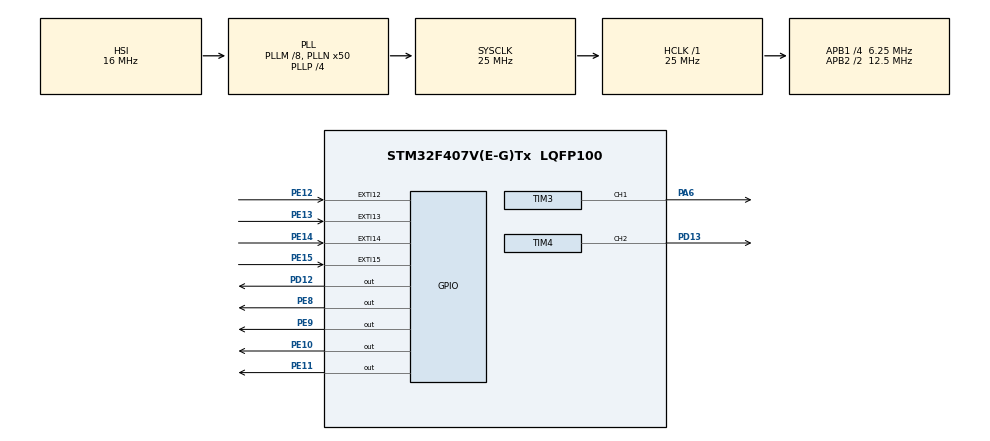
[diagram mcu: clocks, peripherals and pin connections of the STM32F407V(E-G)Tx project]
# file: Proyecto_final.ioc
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Dma.Request0=TIM4_CH2
Dma.TIM4_CH2.0.Direction=DMA_MEMORY_TO_PERIPH
Dma.TIM4_CH2.0.FIFOMode=DMA_FIFOMODE_DISABLE
Dma.TIM4_CH2.0.Instance=DMA1_Stream3
Dma.TIM4_CH2.0.MemDataAlignment=DMA_MDATAALIGN_HALFWORD
Dma.TIM4_CH2.0.MemInc=DMA_MINC_ENABLE
Dma.TIM4_CH2.0.Mode=DMA_NORMAL
Dma.TIM4_CH2.0.PeriphDataAlignment=DMA_PDATAALIGN_HALFWORD
Dma.TIM4_CH2.0.PeriphInc=DMA_PINC_DISABLE
Dma.TIM4_CH2.0.Priority=DMA_PRIORITY_HIGH
Mcu.Family=STM32F4
Mcu.Name=STM32F407V(E-G)Tx
Mcu.Package=LQFP100
NVIC.DMA1_Stream3_IRQn=true\:0\:0\:false\:false\:true\:false\:true\:true
NVIC.EXTI15_10_IRQn=true\:0\:0\:false\:false\:true\:true\:true\:true
NVIC.PriorityGroup=NVIC_PRIORITYGROUP_0
PA13.Mode=Trace_Asynchronous_SW
PA13.Signal=SYS_JTMS-SWDIO
PA14.Mode=Trace_Asynchronous_SW
PA14.Signal=SYS_JTCK-SWCLK
PA6.Signal=S_TIM3_CH1
PB3.Mode=Trace_Asynchronous_SW
PB3.Signal=SYS_JTDO-SWO
PD12.Signal=GPIO_Output
PD13.GPIO_Speed=GPIO_SPEED_FREQ_VERY_HIGH
PD13.Signal=S_TIM4_CH2
PE10.GPIO_ModeDefaultOutputPP=GPIO_MODE_OUTPUT_OD
PE10.GPIO_PuPd=GPIO_NOPULL
PE10.Signal=GPIO_Output
PE11.GPIO_ModeDefaultOutputPP=GPIO_MODE_OUTPUT_OD
PE11.GPIO_PuPd=GPIO_NOPULL
PE11.Signal=GPIO_Output
PE12.GPIO_ModeDefaultEXTI=GPIO_MODE_IT_FALLING
PE12.GPIO_PuPd=GPIO_PULLUP
PE12.Signal=GPXTI12
PE13.GPIO_ModeDefaultEXTI=GPIO_MODE_IT_FALLING
PE13.GPIO_PuPd=GPIO_PULLUP
PE13.Signal=GPXTI13
PE14.GPIO_ModeDefaultEXTI=GPIO_MODE_IT_FALLING
PE14.GPIO_PuPd=GPIO_PULLUP
PE14.Signal=GPXTI14
PE15.GPIO_ModeDefaultEXTI=GPIO_MODE_IT_FALLING
PE15.GPIO_PuPd=GPIO_PULLUP
PE15.Signal=GPXTI15
PE8.GPIO_ModeDefaultOutputPP=GPIO_MODE_OUTPUT_OD
PE8.GPIO_PuPd=GPIO_NOPULL
PE8.Signal=GPIO_Output
PE9.GPIO_ModeDefaultOutputPP=GPIO_MODE_OUTPUT_OD
PE9.GPIO_PuPd=GPIO_NOPULL
PE9.Signal=GPIO_Output
ProjectManager.HeapSize=0x200
ProjectManager.StackSize=0x400
ProjectManager.TargetToolchain=STM32CubeIDE
RCC.48MHZClocksFreq_Value=14285714.285714285
RCC.AHBFreq_Value=25000000
RCC.APB1CLKDivider=RCC_HCLK_DIV4
RCC.APB1Freq_Value=6250000
RCC.APB1TimFreq_Value=12500000
RCC.APB2CLKDivider=RCC_HCLK_DIV2
RCC.APB2Freq_Value=12500000
RCC.APB2TimFreq_Value=25000000
RCC.CortexFreq_Value=25000000
RCC.HCLKFreq_Value=25000000
RCC.HSE_VALUE=8000000
RCC.HSI_VALUE=16000000
RCC.LSE_VALUE=32768
RCC.PLLM=8
RCC.PLLN=50
RCC.PLLP=RCC_PLLP_DIV4
RCC.PLLQ=7
RCC.SYSCLKFreq_VALUE=25000000
RCC.SYSCLKSource=RCC_SYSCLKSOURCE_PLLCLK
RCC.VCOOutputFreq_Value=100000000
SH.S_TIM3_CH1.0=TIM3_CH1,PWM Generation1 CH1
SH.S_TIM4_CH2.0=TIM4_CH2,PWM Generation2 CH2
TIM3.AutoReloadPreload=TIM_AUTORELOAD_PRELOAD_ENABLE
TIM3.Channel-PWM\ Generation1\ CH1=TIM_CHANNEL_1
TIM3.Period=12499
TIM4.AutoReloadPreload=TIM_AUTORELOAD_PRELOAD_ENABLE
TIM4.Channel-PWM\ Generation2\ CH2=TIM_CHANNEL_2
TIM4.Period=15
VP_TIM3_VS_ClockSourceINT.Mode=Internal
VP_TIM4_VS_ClockSourceINT.Mode=Internal
board=STM32F407G-DISC1

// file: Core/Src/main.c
/* USER CODE BEGIN Header */
/**
  ******************************************************************************
  * @file           : main.c
  * @brief          : Main program body
  ******************************************************************************
  * @attention
  *
  * Copyright (c) 2026 STMicroelectronics.
  * All rights reserved.
  *
  * This software is licensed under terms that can be found in the LICENSE file
  * in the root directory of this software component.
  * If no LICENSE file comes with this software, it is provided AS-IS.
  *
  ******************************************************************************
  */
/* USER CODE END Header */
#include "main.h"

/* USER CODE BEGIN Includes */
#include "luces.h"
#include "teclado.h"
#include "buzzer.h"
#include "stm32f4xx_hal.h"
#include "fsm.h"
#include "stdio.h"
/* USER CODE END Includes */

/* USER CODE BEGIN PTD */
typedef enum{
    estado_inicio,
    estado_inicializar,   //leer SW por primera vez
    estado_turno_A,
    estado_turno_B,
    estado_esperar_soltar,
    estado_asignar_jugada,
    estado_comprobar_jugada,
    estado_gana_A,
    estado_gana_B,
    estado_empate,
    estado_fin_del_juego,
	estado_menu
}estado;

typedef enum{
    evento_presionar,   //evento_1 ~ boton presionado
    evento_jugada_invalida_de_A,
    evento_jugada_invalida_de_B,
    evento_jugada_valida,
    evento_sin_presionar,
    evento_no_gana_A,
    evento_no_gana_B,
	evento_gana_A,
	evento_gana_B,
    evento_soltar,
	evento_fin_del_juego,
	evento_nada
}evento;

/* USER CODE END PTD */

/* USER CODE BEGIN PD */
#define tcl_puerto GPIOE
#define tcl_pin_x4 GPIO_PIN_15
#define tcl_pin_x3 GPIO_PIN_13
#define tcl_pin_x2 GPIO_PIN_14
#define tcl_pin_x1 GPIO_PIN_12
#define tcl_pin_y4 GPIO_PIN_11
#define tcl_pin_y3 GPIO_PIN_10
#define tcl_pin_y2 GPIO_PIN_9
#define tcl_pin_y1 GPIO_PIN_8
/* USER CODE END PD */

TIM_HandleTypeDef htim3;
TIM_HandleTypeDef htim4;
DMA_HandleTypeDef hdma_tim4_ch2;

/* USER CODE BEGIN PV */

//Todas las variables son globales porque se usan en varios .c
volatile int ocupado = 0;//definido paratodos los subsistemas me  parece que deberia arreglarlo o no ponerlo aca
volatile char jugador;
volatile int X;
volatile int Y;
volatile evento evento_actual;
volatile estado estado_siguiente;
volatile int Xf;
volatile int Yf;
volatile uint32_t T;
volatile uint32_t TT;
volatile int bloqueo = 0;

//matriz donde se guardaran enteros que representan las entidades del juego, fichas, entidades de animacion, etc...
//enteros porque es mas simple de operar. Para imprimir lo que se hace es traducir esta matriz de enteros
//por otra con una matriz que si pueda procesarse en driver led...
volatile int matriz[8][4] =
{
		{0,0,0,0},
		{0,0,0,0},
		{0,0,0,0},
		{0,0,0,0},
		{0,0,0,0},
		{0,0,0,0},
		{0,0,0,0},
		{0,0,0,0}
};
/* USER CODE END PV */

void SystemClock_Config(void);
static void MX_GPIO_Init(void);
static void MX_DMA_Init(void);
static void MX_TIM4_Init(void);
static void MX_TIM3_Init(void);
/* USER CODE BEGIN PFP */
void imprimir_matriz_actual(void);
/* USER CODE END PFP */

/* USER CODE BEGIN 0 */
int _write(int file, char *ptr , int len)
{
	for (int i=0; i<len; i++)
	{
		ITM_SendChar(*ptr++);
	}
	return len;
}
/* USER CODE END 0 */

int main(void)
{

  /* MCU Configuration--------------------------------------------------------*/

  /* Reset of all peripherals, Initializes the Flash interface and the Systick. */
  HAL_Init();

  /* USER CODE BEGIN Init */
  HAL_GPIO_WritePin(tcl_puerto,tcl_pin_y1,GPIO_PIN_RESET);
  HAL_GPIO_WritePin(tcl_puerto,tcl_pin_y2,GPIO_PIN_RESET);
  HAL_GPIO_WritePin(tcl_puerto,tcl_pin_y3,GPIO_PIN_RESET);
  HAL_GPIO_WritePin(tcl_puerto,tcl_pin_y4,GPIO_PIN_RESET);
  /* USER CODE END Init */

  /* Configure the system clock */
  SystemClock_Config();

  /* USER CODE BEGIN SysInit */
printf(" Inicializando la consola...\n");
evento_actual = evento_nada;
estado_siguiente = estado_inicio;

  /* USER CODE END SysInit */

  /* Initialize all configured peripherals */
  MX_GPIO_Init();
  MX_DMA_Init();
  MX_TIM4_Init();
  MX_TIM3_Init();
  /* USER CODE BEGIN 2 */
  //uint16_t mi_tablero[NUM_LEDS];

  /* USER CODE END 2 */

  /* Infinite loop */
  /* USER CODE BEGIN WHILE */
  while (1)
  {

	  actualizar_fsm_juego();

    /* USER CODE END WHILE */

  }
}

void SystemClock_Config(void)
{
  RCC_OscInitTypeDef RCC_OscInitStruct = {0};
  RCC_ClkInitTypeDef RCC_ClkInitStruct = {0};

  /** Configure the main internal regulator output voltage
  */
  __HAL_RCC_PWR_CLK_ENABLE();
  __HAL_PWR_VOLTAGESCALING_CONFIG(PWR_REGULATOR_VOLTAGE_SCALE1);

  /** Initializes the RCC Oscillators according to the specified parameters
  * in the RCC_OscInitTypeDef structure.
  */
  RCC_OscInitStruct.OscillatorType = RCC_OSCILLATORTYPE_HSI;
  RCC_OscInitStruct.HSIState = RCC_HSI_ON;
  RCC_OscInitStruct.HSICalibrationValue = RCC_HSICALIBRATION_DEFAULT;
  RCC_OscInitStruct.PLL.PLLState = RCC_PLL_ON;
  RCC_OscInitStruct.PLL.PLLSource = RCC_PLLSOURCE_HSI;
  RCC_OscInitStruct.PLL.PLLM = 8;
  RCC_OscInitStruct.PLL.PLLN = 50;
  RCC_OscInitStruct.PLL.PLLP = RCC_PLLP_DIV4;
  RCC_OscInitStruct.PLL.PLLQ = 7;
  if (HAL_RCC_OscConfig(&RCC_OscInitStruct) != HAL_OK)
  {
    Error_Handler();
  }

  /** Initializes the CPU, AHB and APB buses clocks
  */
  RCC_ClkInitStruct.ClockType = RCC_CLOCKTYPE_HCLK|RCC_CLOCKTYPE_SYSCLK
                              |RCC_CLOCKTYPE_PCLK1|RCC_CLOCKTYPE_PCLK2;
  RCC_ClkInitStruct.SYSCLKSource = RCC_SYSCLKSOURCE_PLLCLK;
  RCC_ClkInitStruct.AHBCLKDivider = RCC_SYSCLK_DIV1;
  RCC_ClkInitStruct.APB1CLKDivider = RCC_HCLK_DIV4;
  RCC_ClkInitStruct.APB2CLKDivider = RCC_HCLK_DIV2;

  if (HAL_RCC_ClockConfig(&RCC_ClkInitStruct, FLASH_LATENCY_0) != HAL_OK)
  {
    Error_Handler();
  }
}

static void MX_TIM3_Init(void)
{

  TIM_ClockConfigTypeDef sClockSourceConfig = {0};
  TIM_MasterConfigTypeDef sMasterConfig = {0};
  TIM_OC_InitTypeDef sConfigOC = {0};

  htim3.Instance = TIM3;
  htim3.Init.Prescaler = 0;
  htim3.Init.CounterMode = TIM_COUNTERMODE_UP;
  htim3.Init.Period = 12499;
  htim3.Init.ClockDivision = TIM_CLOCKDIVISION_DIV1;
  htim3.Init.AutoReloadPreload = TIM_AUTORELOAD_PRELOAD_ENABLE;
  if (HAL_TIM_Base_Init(&htim3) != HAL_OK)
  {
    Error_Handler();
  }
  sClockSourceConfig.ClockSource = TIM_CLOCKSOURCE_INTERNAL;
  if (HAL_TIM_ConfigClockSource(&htim3, &sClockSourceConfig) != HAL_OK)
  {
    Error_Handler();
  }
  if (HAL_TIM_PWM_Init(&htim3) != HAL_OK)
  {
    Error_Handler();
  }
  sMasterConfig.MasterOutputTrigger = TIM_TRGO_RESET;
  sMasterConfig.MasterSlaveMode = TIM_MASTERSLAVEMODE_DISABLE;
  if (HAL_TIMEx_MasterConfigSynchronization(&htim3, &sMasterConfig) != HAL_OK)
  {
    Error_Handler();
  }
  sConfigOC.OCMode = TIM_OCMODE_PWM1;
  sConfigOC.Pulse = 0;
  sConfigOC.OCPolarity = TIM_OCPOLARITY_HIGH;
  sConfigOC.OCFastMode = TIM_OCFAST_DISABLE;
  if (HAL_TIM_PWM_ConfigChannel(&htim3, &sConfigOC, TIM_CHANNEL_1) != HAL_OK)
  {
    Error_Handler();
  }
  HAL_TIM_MspPostInit(&htim3);

}

static void MX_TIM4_Init(void)
{

  TIM_ClockConfigTypeDef sClockSourceConfig = {0};
  TIM_MasterConfigTypeDef sMasterConfig = {0};
  TIM_OC_InitTypeDef sConfigOC = {0};

  htim4.Instance = TIM4;
  htim4.Init.Prescaler = 0;
  htim4.Init.CounterMode = TIM_COUNTERMODE_UP;
  htim4.Init.Period = 15;
  htim4.Init.ClockDivision = TIM_CLOCKDIVISION_DIV1;
  htim4.Init.AutoReloadPreload = TIM_AUTORELOAD_PRELOAD_ENABLE;
  if (HAL_TIM_Base_Init(&htim4) != HAL_OK)
  {
    Error_Handler();
  }
  sClockSourceConfig.ClockSource = TIM_CLOCKSOURCE_INTERNAL;
  if (HAL_TIM_ConfigClockSource(&htim4, &sClockSourceConfig) != HAL_OK)
  {
    Error_Handler();
  }
  if (HAL_TIM_PWM_Init(&htim4) != HAL_OK)
  {
    Error_Handler();
  }
  sMasterConfig.MasterOutputTrigger = TIM_TRGO_RESET;
  sMasterConfig.MasterSlaveMode = TIM_MASTERSLAVEMODE_DISABLE;
  if (HAL_TIMEx_MasterConfigSynchronization(&htim4, &sMasterConfig) != HAL_OK)
  {
    Error_Handler();
  }
  sConfigOC.OCMode = TIM_OCMODE_PWM1;
  sConfigOC.Pulse = 0;
  sConfigOC.OCPolarity = TIM_OCPOLARITY_HIGH;
  sConfigOC.OCFastMode = TIM_OCFAST_DISABLE;
  if (HAL_TIM_PWM_ConfigChannel(&htim4, &sConfigOC, TIM_CHANNEL_2) != HAL_OK)
  {
    Error_Handler();
  }
  HAL_TIM_MspPostInit(&htim4);

}

static void MX_DMA_Init(void)
{

  /* DMA controller clock enable */
  __HAL_RCC_DMA1_CLK_ENABLE();

  /* DMA interrupt init */
  /* DMA1_Stream3_IRQn interrupt configuration */
  HAL_NVIC_SetPriority(DMA1_Stream3_IRQn, 0, 0);
  HAL_NVIC_EnableIRQ(DMA1_Stream3_IRQn);

}

static void MX_GPIO_Init(void)
{
  GPIO_InitTypeDef GPIO_InitStruct = {0};

  /* GPIO Ports Clock Enable */
  __HAL_RCC_GPIOA_CLK_ENABLE();
  __HAL_RCC_GPIOE_CLK_ENABLE();
  __HAL_RCC_GPIOD_CLK_ENABLE();
  __HAL_RCC_GPIOB_CLK_ENABLE();

  /*Configure GPIO pin Output Level */
  HAL_GPIO_WritePin(GPIOE, GPIO_PIN_8|GPIO_PIN_9|GPIO_PIN_10|GPIO_PIN_11, GPIO_PIN_RESET);

  /*Configure GPIO pin Output Level */
  HAL_GPIO_WritePin(GPIOD, GPIO_PIN_12, GPIO_PIN_RESET);

  /*Configure GPIO pins : PE8 PE9 PE10 PE11 */
  GPIO_InitStruct.Pin = GPIO_PIN_8|GPIO_PIN_9|GPIO_PIN_10|GPIO_PIN_11;
  GPIO_InitStruct.Mode = GPIO_MODE_OUTPUT_OD;
  GPIO_InitStruct.Pull = GPIO_NOPULL;
  GPIO_InitStruct.Speed = GPIO_SPEED_FREQ_LOW;
  HAL_GPIO_Init(GPIOE, &GPIO_InitStruct);

  /*Configure GPIO pins : PE12 PE13 PE14 PE15 */
  GPIO_InitStruct.Pin = GPIO_PIN_12|GPIO_PIN_13|GPIO_PIN_14|GPIO_PIN_15;
  GPIO_InitStruct.Mode = GPIO_MODE_IT_FALLING;
  GPIO_InitStruct.Pull = GPIO_PULLUP;
  HAL_GPIO_Init(GPIOE, &GPIO_InitStruct);

  /*Configure GPIO pin : PD12 */
  GPIO_InitStruct.Pin = GPIO_PIN_12;
  GPIO_InitStruct.Mode = GPIO_MODE_OUTPUT_PP;
  GPIO_InitStruct.Pull = GPIO_NOPULL;
  GPIO_InitStruct.Speed = GPIO_SPEED_FREQ_LOW;
  HAL_GPIO_Init(GPIOD, &GPIO_InitStruct);

  /* EXTI interrupt init*/
  HAL_NVIC_SetPriority(EXTI15_10_IRQn, 0, 0);
  HAL_NVIC_EnableIRQ(EXTI15_10_IRQn);

}

void Error_Handler(void)
{
  __disable_irq();
  while (1)
  {
  }
}
